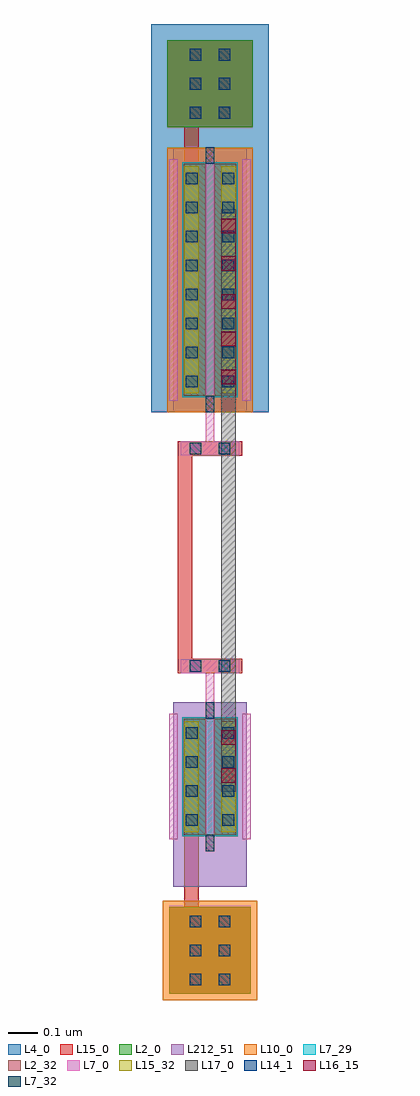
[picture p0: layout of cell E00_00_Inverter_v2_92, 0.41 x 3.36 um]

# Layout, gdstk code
import gdstk
lib = gdstk.Library(unit=1e-6, precision=1e-09)
def R(c, l, rs):  # rectangles x0, y0, x1, y1
    for r in rs: c.add(gdstk.rectangle(r[:2], r[2:], *l))
def A(c, l, x, y, w, h, nx, ny, dx, dy):  # array of equal rectangles
    R(c, l, [(x+i*dx, y+j*dy, x+i*dx+w, y+j*dy+h) for i in range(nx) for j in range(ny)])
def P(c, l, *ps):  # polygons
    for p in ps: c.add(gdstk.Polygon(p, *l))
L2_0 = (2, 0)
L2_32 = (2, 32)
L4_0 = (4, 0)
L7_0 = (7, 0)
L7_29 = (7, 29)
L7_32 = (7, 32)
L10_0 = (10, 0)
L14_1 = (14, 1)
L15_0 = (15, 0)
L15_32 = (15, 32)
L16_15 = (16, 15)
L17_0 = (17, 0)
L212_51 = (212, 51)

e00_00_inverter_v2_92_sr = lib.new_cell('E00_00_Inverter_v2_92:SRF_NMOS:SRF_Drain_ViaM1M2:SRF_ViaM1M2')
R(e00_00_inverter_v2_92_sr, L15_0, [(0,-0.162,0.05,0.082)])
R(e00_00_inverter_v2_92_sr, L16_15, [(0,-0.13,0.05,-0.08), (0,0,0.05,0.05)])
R(e00_00_inverter_v2_92_sr, L17_0, [(0,-0.162,0.05,0.082)])

c_e00_00_inverter_v2_92_sr = lib.new_cell('E00_00_Inverter_v2_92:SRF_NMOS:SRF_Drain_ViaM1M2')
c_e00_00_inverter_v2_92_sr.add(gdstk.Reference(e00_00_inverter_v2_92_sr, (-0.025,0.04)))

c_e00_00_inverter_v2_92_sr_ = lib.new_cell('E00_00_Inverter_v2_92:SRF_NMOS:SRF_Gate_ViaM0Mx:SRF_ViaM0M1')
R(c_e00_00_inverter_v2_92_sr_, L7_0, [(-0.01,-0.004,0.15,0.044)])
R(c_e00_00_inverter_v2_92_sr_, L14_1, [(0,0,0.04,0.04), (0.1,0,0.14,0.04)])
R(c_e00_00_inverter_v2_92_sr_, L15_0, [(-0.021,-0.005,0.161,0.045)])

c_e00_00_inverter_v2_92_sr__ = lib.new_cell('E00_00_Inverter_v2_92:SRF_NMOS:SRF_Gate_ViaM0Mx')
c_e00_00_inverter_v2_92_sr__.add(gdstk.Reference(c_e00_00_inverter_v2_92_sr_, (-0.07,-0.02)))

c_e00_00_inverter_v2_92_sr___ = lib.new_cell('E00_00_Inverter_v2_92:SRF_NMOS')
R(c_e00_00_inverter_v2_92_sr___, L2_0, [(-0.076,0.057,0.106,0.457)])
R(c_e00_00_inverter_v2_92_sr___, L2_32, [(-0.076,0.057,0,0.457), (0.03,0.057,0.106,0.457)])
R(c_e00_00_inverter_v2_92_sr___, L7_0, [(0,0,0.03,0.514), (-0.126,0.041,-0.096,0.473), (0.126,0.041,0.156,0.473), (0,0.514,0.03,0.614), (-0.085,0.614,0.115,0.662)])
R(c_e00_00_inverter_v2_92_sr___, L7_29, [(-0.081,0.052,0.111,0.462)])
R(c_e00_00_inverter_v2_92_sr___, L7_32, [(0,0,0.03,0.057), (0,0.457,0.03,0.514)])
A(c_e00_00_inverter_v2_92_sr___, L14_1, -0.068, 0.087, 0.04, 0.04, 1, 4, 0, 0.1)
A(c_e00_00_inverter_v2_92_sr___, L14_1, 0.058, 0.087, 0.04, 0.04, 1, 4, 0, 0.1)
R(c_e00_00_inverter_v2_92_sr___, L15_0, [(-0.073,0.066,-0.023,0.448), (-0.073,0.066,-0.023,0.448), (0.053,0.066,0.103,0.448), (0.053,0.066,0.103,0.448), (-0.096,0.613,0.126,0.663)])
R(c_e00_00_inverter_v2_92_sr___, L15_32, [(-0.073,0.066,-0.023,0.448), (0.053,0.066,0.103,0.448)])
R(c_e00_00_inverter_v2_92_sr___, L17_0, [(0.053,0.448,0.103,0.498)])
P(c_e00_00_inverter_v2_92_sr___, L17_0, [(0.053,0.448),(0.103,0.448),(0.103,0.448),(0.053,0.448)])
R(c_e00_00_inverter_v2_92_sr___, L212_51, [(-0.111,-0.122,0.141,0.513)])
c_e00_00_inverter_v2_92_sr___.add(gdstk.Reference(c_e00_00_inverter_v2_92_sr, (0.078,0.326)))
c_e00_00_inverter_v2_92_sr___.add(gdstk.Reference(c_e00_00_inverter_v2_92_sr__, (0.015,0.638)))

c_e00_00_inverter_v2_92_sr____ = lib.new_cell('E00_00_Inverter_v2_92:SRF_Pbody:SRF_PbodyContactPhyLen')
R(c_e00_00_inverter_v2_92_sr____, L2_0, [(-0.071,-0.23,0.211,0.07)])
R(c_e00_00_inverter_v2_92_sr____, L10_0, [(-0.092,-0.251,0.232,0.091)])
A(c_e00_00_inverter_v2_92_sr____, L14_1, 0, -0.2, 0.04, 0.04, 1, 3, 0, 0.1)
A(c_e00_00_inverter_v2_92_sr____, L14_1, 0.1, -0.2, 0.04, 0.04, 1, 3, 0, 0.1)
R(c_e00_00_inverter_v2_92_sr____, L15_0, [(-0.071,-0.23,0.211,0.07)])

c_e00_00_inverter_v2_92_sr_____ = lib.new_cell('E00_00_Inverter_v2_92:SRF_Pbody')
c_e00_00_inverter_v2_92_sr_____.add(gdstk.Reference(c_e00_00_inverter_v2_92_sr____, (0,0)))

c_e00_00_inverter_v2_92_sr______ = lib.new_cell('E00_00_Inverter_v2_92:SRF_PMOS:SRF_Drain_ViaM1M2:SRF_ViaM1M2')
R(c_e00_00_inverter_v2_92_sr______, L15_0, [(0,-0.552,0.05,0.082)])
A(c_e00_00_inverter_v2_92_sr______, L16_15, 0, -0.52, 0.05, 0.05, 1, 5, 0, 0.13)
R(c_e00_00_inverter_v2_92_sr______, L17_0, [(0,-0.552,0.05,0.082)])

c_e00_00_inverter_v2_92_sr_______ = lib.new_cell('E00_00_Inverter_v2_92:SRF_PMOS:SRF_Drain_ViaM1M2')
c_e00_00_inverter_v2_92_sr_______.add(gdstk.Reference(c_e00_00_inverter_v2_92_sr______, (-0.025,0.235)))

c_e00_00_inverter_v2_92_sr________ = lib.new_cell('E00_00_Inverter_v2_92:SRF_PMOS:SRF_Gate_ViaM0Mx:SRF_ViaM0M1')
R(c_e00_00_inverter_v2_92_sr________, L7_0, [(-0.01,-0.004,0.15,0.044)])
R(c_e00_00_inverter_v2_92_sr________, L14_1, [(0,0,0.04,0.04), (0.1,0,0.14,0.04)])
R(c_e00_00_inverter_v2_92_sr________, L15_0, [(-0.021,-0.005,0.161,0.045)])

c_e00_00_inverter_v2_92_sr_________ = lib.new_cell('E00_00_Inverter_v2_92:SRF_PMOS:SRF_Gate_ViaM0Mx')
c_e00_00_inverter_v2_92_sr_________.add(gdstk.Reference(c_e00_00_inverter_v2_92_sr________, (-0.07,-0.02)))

c_e00_00_inverter_v2_92_sr__________ = lib.new_cell('E00_00_Inverter_v2_92:SRF_PMOS')
R(c_e00_00_inverter_v2_92_sr__________, L2_0, [(-0.076,0.057,0.106,0.857)])
R(c_e00_00_inverter_v2_92_sr__________, L2_32, [(-0.076,0.057,0,0.857), (0.03,0.057,0.106,0.857)])
R(c_e00_00_inverter_v2_92_sr__________, L7_0, [(-0.085,-0.148,0.115,-0.1), (0,-0.1,0.03,0), (0,0,0.03,0.914), (-0.126,0.041,-0.096,0.873), (0.126,0.041,0.156,0.873)])
R(c_e00_00_inverter_v2_92_sr__________, L7_29, [(-0.081,0.052,0.111,0.862)])
R(c_e00_00_inverter_v2_92_sr__________, L7_32, [(0,0,0.03,0.057), (0,0.857,0.03,0.914)])
R(c_e00_00_inverter_v2_92_sr__________, L10_0, [(-0.132,0.001,0.162,0.913)])
A(c_e00_00_inverter_v2_92_sr__________, L14_1, -0.068, 0.087, 0.04, 0.04, 1, 8, 0, 0.1)
A(c_e00_00_inverter_v2_92_sr__________, L14_1, 0.058, 0.087, 0.04, 0.04, 1, 8, 0, 0.1)
R(c_e00_00_inverter_v2_92_sr__________, L15_0, [(-0.096,-0.149,0.126,-0.099), (-0.073,0.066,-0.023,0.848), (-0.073,0.066,-0.023,0.848), (0.053,0.066,0.103,0.848), (0.053,0.066,0.103,0.848)])
R(c_e00_00_inverter_v2_92_sr__________, L15_32, [(-0.073,0.066,-0.023,0.848), (0.053,0.066,0.103,0.848)])
R(c_e00_00_inverter_v2_92_sr__________, L17_0, [(0.053,0.016,0.103,0.066)])
P(c_e00_00_inverter_v2_92_sr__________, L17_0, [(0.053,0.066),(0.103,0.066),(0.103,0.066),(0.053,0.066)])
R(c_e00_00_inverter_v2_92_sr__________, L212_51, [(-0.111,0.001,0.141,0.913)])
c_e00_00_inverter_v2_92_sr__________.add(gdstk.Reference(c_e00_00_inverter_v2_92_sr_______, (0.078,0.383)))
c_e00_00_inverter_v2_92_sr__________.add(gdstk.Reference(c_e00_00_inverter_v2_92_sr_________, (0.015,-0.124)))

c_e00_00_inverter_v2_92_sr___________ = lib.new_cell('E00_00_Inverter_v2_92:SRF_Nbody:SRF_NbodyContactPhyLen')
R(c_e00_00_inverter_v2_92_sr___________, L2_0, [(-0.077,-0.23,0.217,0.07)])
R(c_e00_00_inverter_v2_92_sr___________, L4_0, [(-0.133,-0.286,0.273,0.126)])
A(c_e00_00_inverter_v2_92_sr___________, L14_1, 0, -0.2, 0.04, 0.04, 1, 3, 0, 0.1)
A(c_e00_00_inverter_v2_92_sr___________, L14_1, 0.1, -0.2, 0.04, 0.04, 1, 3, 0, 0.1)
R(c_e00_00_inverter_v2_92_sr___________, L15_0, [(-0.077,-0.23,0.217,0.07)])

c_e00_00_inverter_v2_92_sr____________ = lib.new_cell('E00_00_Inverter_v2_92:SRF_Nbody')
c_e00_00_inverter_v2_92_sr____________.add(gdstk.Reference(c_e00_00_inverter_v2_92_sr___________, (0,0)))

e00_00_inverter_v2_92 = lib.new_cell('E00_00_Inverter_v2_92')
R(e00_00_inverter_v2_92, L4_0, [(-0.188,1.513,0.218,2.851)])
R(e00_00_inverter_v2_92, L15_0, [(-0.073,-0.492,-0.023,0.448), (-0.096,0.613,-0.046,1.413), (-0.073,1.578,-0.023,2.795)])
P(e00_00_inverter_v2_92, L15_0, [(-0.096,0.613),(-0.096,0.613),(-0.096,0.663),(-0.096,0.663)])
R(e00_00_inverter_v2_92, L17_0, [(0.053,0.448,0.103,1.578)])
P(e00_00_inverter_v2_92, L17_0, [(0.103,0.448),(0.103,0.448),(0.103,0.498),(0.103,0.498)])
e00_00_inverter_v2_92.add(gdstk.Reference(c_e00_00_inverter_v2_92_sr___, (0,0)))
e00_00_inverter_v2_92.add(gdstk.Reference(c_e00_00_inverter_v2_92_sr_____, (-0.055,-0.262)))
e00_00_inverter_v2_92.add(gdstk.Reference(c_e00_00_inverter_v2_92_sr__________, (0,1.512)))
e00_00_inverter_v2_92.add(gdstk.Reference(c_e00_00_inverter_v2_92_sr____________, (-0.055,2.725)))

lib.write_gds('E00_00_Inverter_v2_92.gds')
